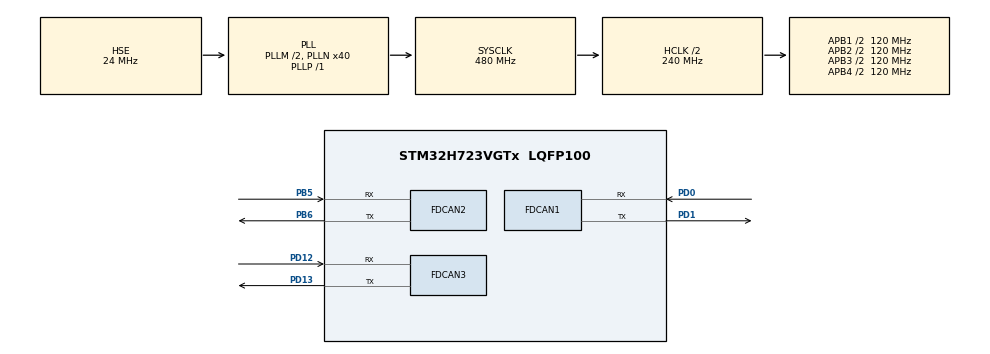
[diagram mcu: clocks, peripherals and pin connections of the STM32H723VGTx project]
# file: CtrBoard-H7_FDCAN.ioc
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CORTEX_M7.CPU_DCache=Enabled
CORTEX_M7.CPU_ICache=Enabled
FDCAN1.AutoRetransmission=DISABLE
FDCAN1.CalculateBaudRateNominal=1000000
FDCAN1.CalculateTimeBitNominal=1000
FDCAN1.CalculateTimeQuantumNominal=200.0
FDCAN1.Mode=FDCAN_MODE_NORMAL
FDCAN1.NominalPrescaler=24
FDCAN1.NominalTimeSeg1=2
FDCAN1.ProtocolException=DISABLE
FDCAN1.RxFifo0ElmtsNbr=32
FDCAN1.StdFiltersNbr=1
FDCAN1.TransmitPause=DISABLE
FDCAN1.TxFifoQueueElmtsNbr=32
FDCAN2.CalculateBaudRateNominal=1000000
FDCAN2.CalculateTimeBitNominal=1000
FDCAN2.CalculateTimeQuantumNominal=200.0
FDCAN2.MessageRAMOffset=0x406
FDCAN2.Mode=FDCAN_MODE_NORMAL
FDCAN2.NominalPrescaler=24
FDCAN2.RxFifo0ElmtsNbr=32
FDCAN2.StdFiltersNbr=1
FDCAN2.TxFifoQueueElmtsNbr=32
FDCAN3.CalculateBaudRateNominal=1000000
FDCAN3.CalculateTimeBitNominal=1000
FDCAN3.CalculateTimeQuantumNominal=200.0
FDCAN3.MessageRAMOffset=0x812
FDCAN3.Mode=FDCAN_MODE_NORMAL
FDCAN3.NominalPrescaler=24
FDCAN3.RxFifo0ElmtsNbr=32
FDCAN3.StdFiltersNbr=1
FDCAN3.TxFifoQueueElmtsNbr=32
Mcu.Family=STM32H7
Mcu.Name=STM32H723VGTx
Mcu.Package=LQFP100
NVIC.FDCAN1_IT0_IRQn=true\:0\:0\:false\:false\:true\:true\:true\:true
NVIC.FDCAN1_IT1_IRQn=true\:0\:0\:false\:false\:true\:true\:true\:true
NVIC.FDCAN2_IT0_IRQn=true\:0\:0\:false\:false\:true\:true\:true\:true
NVIC.FDCAN2_IT1_IRQn=true\:0\:0\:false\:false\:true\:true\:true\:true
NVIC.FDCAN3_IT0_IRQn=true\:0\:0\:false\:false\:true\:true\:true\:true
NVIC.FDCAN3_IT1_IRQn=true\:0\:0\:false\:false\:true\:true\:true\:true
NVIC.PriorityGroup=NVIC_PRIORITYGROUP_4
NVIC.TIM1_UP_IRQn=true\:0\:0\:false\:false\:true\:true\:true\:true
PA13(JTMS/SWDIO).Mode=Serial_Wire
PA13(JTMS/SWDIO).Signal=DEBUG_JTMS-SWDIO
PA14(JTCK/SWCLK).Mode=Serial_Wire
PA14(JTCK/SWCLK).Signal=DEBUG_JTCK-SWCLK
PB5.Mode=FDCAN_Activate
PB5.Signal=FDCAN2_RX
PB6.Mode=FDCAN_Activate
PB6.Signal=FDCAN2_TX
PD0.Mode=FDCAN_Activate
PD0.Signal=FDCAN1_RX
PD1.Mode=FDCAN_Activate
PD1.Signal=FDCAN1_TX
PD12.Mode=FDCAN_Activate
PD12.Signal=FDCAN3_RX
PD13.Mode=FDCAN_Activate
PD13.Signal=FDCAN3_TX
PH0-OSC_IN.Mode=HSE-External-Oscillator
PH0-OSC_IN.Signal=RCC_OSC_IN
PH1-OSC_OUT.Mode=HSE-External-Oscillator
PH1-OSC_OUT.Signal=RCC_OSC_OUT
ProjectManager.HeapSize=0x200
ProjectManager.StackSize=0x400
ProjectManager.TargetToolchain=MDK-ARM V5.32
RCC.ADCFreq_Value=48375000
RCC.APB1Freq_Value=120000000
RCC.APB2Freq_Value=120000000
RCC.APB3Freq_Value=120000000
RCC.APB4Freq_Value=120000000
RCC.CortexFreq_Value=480000000
RCC.D1PPRE=RCC_APB3_DIV2
RCC.D2PPRE1=RCC_APB1_DIV2
RCC.D2PPRE2=RCC_APB2_DIV2
RCC.D3PPRE=RCC_APB4_DIV2
RCC.DIVM1=2
RCC.DIVN1=40
RCC.DIVP1=1
RCC.DIVQ1=4
RCC.HCLKFreq_Value=240000000
RCC.HPRE=RCC_HCLK_DIV2
RCC.HSE_VALUE=24000000
RCC.PLLFRACN=0
RCC.PLLSourceVirtual=RCC_PLLSOURCE_HSE
RCC.SYSCLKFreq_VALUE=480000000
RCC.SYSCLKSource=RCC_SYSCLKSOURCE_PLLCLK
RCC.USBFreq_Value=120000000
TIM1.AutoReloadPreload=TIM_AUTORELOAD_PRELOAD_ENABLE
TIM1.Period=1000
TIM1.Prescaler=239
VP_TIM1_VS_ClockSourceINT.Mode=Internal
board=custom

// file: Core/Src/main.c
/* USER CODE BEGIN Header */
/**
  ******************************************************************************
  * @file           : main.c
  * @brief          : Main program body
  ******************************************************************************
  * @attention
  *
  * Copyright (c) 2024 STMicroelectronics.
  * All rights reserved.
  *
  * This software is licensed under terms that can be found in the LICENSE file
  * in the root directory of this software component.
  * If no LICENSE file comes with this software, it is provided AS-IS.
  *
  ******************************************************************************
  */
/* USER CODE END Header */
#include "main.h"
#include "fdcan.h"
#include "tim.h"
#include "gpio.h"

/* USER CODE BEGIN Includes */
#include "can_bsp.h"
#include "dm_imu.h"
/* USER CODE END Includes */

/* USER CODE BEGIN PV */
uint8_t freq_1k=0;
static uint32_t tick_ms=0;
/* USER CODE END PV */

void SystemClock_Config(void);

/* USER CODE BEGIN 0 */
extern void GPIO_5V_PowerOn();
extern void GPIO_5V_PowerOff();
/* USER CODE END 0 */

int main(void)
{
/* Enable the CPU Cache */

  /* Enable I-Cache---------------------------------------------------------*/
  SCB_EnableICache();

  /* Enable D-Cache---------------------------------------------------------*/
  SCB_EnableDCache();

  /* MCU Configuration--------------------------------------------------------*/

  /* Reset of all peripherals, Initializes the Flash interface and the Systick. */
  HAL_Init();

  /* Configure the system clock */
  SystemClock_Config();

  /* Initialize all configured peripherals */
  MX_GPIO_Init();
  MX_FDCAN1_Init();
  MX_FDCAN2_Init();
  MX_FDCAN3_Init();
  MX_TIM1_Init();
  /* USER CODE BEGIN 2 */
	can_bsp_init();
	HAL_TIM_Base_Start_IT(&htim1);

	GPIO_5V_PowerOn();
  /* USER CODE END 2 */

  /* Infinite loop */
  /* USER CODE BEGIN WHILE */
  while (1)
  {

   /* USER CODE BEGIN 3 */
		if(freq_1k)
		{
			tick_ms++;

			if(tick_ms%3==0)
			{
				IMU_RequestData(&hfdcan3,0x01,3);
			}
			else if(tick_ms%2==0)
			{
				IMU_RequestData(&hfdcan3,0x01,2);
			}
			else if(tick_ms%1==0)
			{
				IMU_RequestData(&hfdcan3,0x01,1);
			}

			if(tick_ms>1000)
				tick_ms=0;

			freq_1k=0;
		}
     /* USER CODE END 3 */
  }
  /* USER CODE END WHILE */
}

void SystemClock_Config(void)
{
  RCC_OscInitTypeDef RCC_OscInitStruct = {0};
  RCC_ClkInitTypeDef RCC_ClkInitStruct = {0};

  /** Supply configuration update enable
  */
  HAL_PWREx_ConfigSupply(PWR_LDO_SUPPLY);

  /** Configure the main internal regulator output voltage
  */
  __HAL_PWR_VOLTAGESCALING_CONFIG(PWR_REGULATOR_VOLTAGE_SCALE0);

  while(!__HAL_PWR_GET_FLAG(PWR_FLAG_VOSRDY)) {}

  /** Initializes the RCC Oscillators according to the specified parameters
  * in the RCC_OscInitTypeDef structure.
  */
  RCC_OscInitStruct.OscillatorType = RCC_OSCILLATORTYPE_HSE;
  RCC_OscInitStruct.HSEState = RCC_HSE_ON;
  RCC_OscInitStruct.PLL.PLLState = RCC_PLL_ON;
  RCC_OscInitStruct.PLL.PLLSource = RCC_PLLSOURCE_HSE;
  RCC_OscInitStruct.PLL.PLLM = 2;
  RCC_OscInitStruct.PLL.PLLN = 40;
  RCC_OscInitStruct.PLL.PLLP = 1;
  RCC_OscInitStruct.PLL.PLLQ = 4;
  RCC_OscInitStruct.PLL.PLLR = 2;
  RCC_OscInitStruct.PLL.PLLRGE = RCC_PLL1VCIRANGE_3;
  RCC_OscInitStruct.PLL.PLLVCOSEL = RCC_PLL1VCOWIDE;
  RCC_OscInitStruct.PLL.PLLFRACN = 0;
  if (HAL_RCC_OscConfig(&RCC_OscInitStruct) != HAL_OK)
  {
    Error_Handler();
  }

  /** Initializes the CPU, AHB and APB buses clocks
  */
  RCC_ClkInitStruct.ClockType = RCC_CLOCKTYPE_HCLK|RCC_CLOCKTYPE_SYSCLK
                              |RCC_CLOCKTYPE_PCLK1|RCC_CLOCKTYPE_PCLK2
                              |RCC_CLOCKTYPE_D3PCLK1|RCC_CLOCKTYPE_D1PCLK1;
  RCC_ClkInitStruct.SYSCLKSource = RCC_SYSCLKSOURCE_PLLCLK;
  RCC_ClkInitStruct.SYSCLKDivider = RCC_SYSCLK_DIV1;
  RCC_ClkInitStruct.AHBCLKDivider = RCC_HCLK_DIV2;
  RCC_ClkInitStruct.APB3CLKDivider = RCC_APB3_DIV2;
  RCC_ClkInitStruct.APB1CLKDivider = RCC_APB1_DIV2;
  RCC_ClkInitStruct.APB2CLKDivider = RCC_APB2_DIV2;
  RCC_ClkInitStruct.APB4CLKDivider = RCC_APB4_DIV2;

  if (HAL_RCC_ClockConfig(&RCC_ClkInitStruct, FLASH_LATENCY_3) != HAL_OK)
  {
    Error_Handler();
  }
}

/* USER CODE BEGIN 4 */
void HAL_TIM_PeriodElapsedCallback(TIM_HandleTypeDef *htim)
{
	if(htim->Instance==TIM1)
	{
		freq_1k=1;
	}
}
/* USER CODE END 4 */

void Error_Handler(void)
{
  __disable_irq();
  while (1)
  {
  }
}
